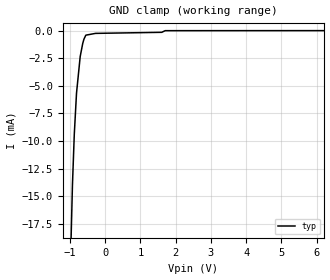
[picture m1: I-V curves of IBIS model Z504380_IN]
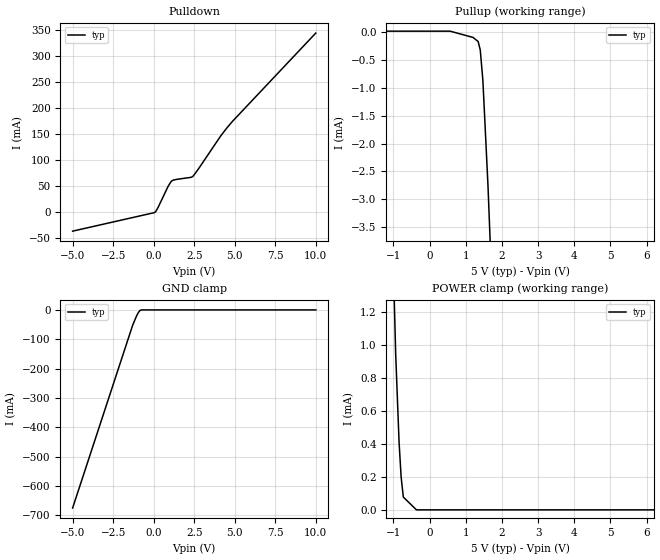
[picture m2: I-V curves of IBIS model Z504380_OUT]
| YOU ARE ONLY AUTHORIZED TO USE THIS SOFTWARE
| ACCORDING TO LICENSOR'S LICENSE RESTRICTIONS.
[IBIS Ver] 3.1
[File Name] sn54ls13j.ibs
[File Rev] 2.0
[Source] Measured and created by ICX Technology
[Date] Friday 7/14/00 9:08:13 AM
[Copyright]
| (C) COPYRIGHT 1993-2000
| MENTOR GRAPHICS CORPORATION
| ICX STANDARD LIBRARY, ICX PROJECT MODELING,
| ICX CUSTOM MODELING, ICX VENDOR MODEL
| ALL RIGHTS RESERVED.
| THE FOLLOWING ARE TRADEMARKS OR SERVICE MARKS OF
| MENTOR GRAPHICS CORPORATION:ICX (R), ICX STANDARD
| LIBRARY(R), ICX PROJECT MODELING(R), ICX CUSTOM
| MODELING(R), qualityIBIS(TM), MODELVIEWER(TM),
| AND MODELEDITOR(TM)
| ALL COPIES OF SOFTWARE, INCLUDING BUT NOT LIMITED TO
| ANY MODIFICATIONS, ENHANCEMENTS OR DERIVATIVE WORKS,
| MUST CONTAIN ALL MENTOR GRAPHICS CORPORATION'S
| NOTICES AND LEGENDS, INCLUDING THOSE EMBEDDED IN
| SOFTWARE AND THOSE AFFIXED TO SOFTWARE MEDIUM
| AND CONTAINER, AS RECEIVED FROM MENTOR GRAPHICS
| CORPORATION.
|  ZAP Model Builder 2.7
[Component] SN54LS13J
[Manufacturer] OnSemiconductor
[Package]
| variable   typ   min   max
R_pkg  .21ohms NA NA
L_pkg  4.543nH NA NA
C_pkg  1.8pF NA NA
[Pin] signal_name  model_name  R_pin  L_pin C_pin
1 A Z504380_IN .22 6.757n 2.434p
2 B Z504380_IN .212 4.757n 1.941p
3 NC NC .204 3.257n 1.448p
4 C Z504380_IN .196 2.257n .955p
5 D Z504380_IN .204 3.257n 1.448p
6 Y Z504380_OUT .212 4.757n 1.941p
7 GND GND .22 6.757n 2.434p
8 Y Z504380_OUT .22 6.757n 2.434p
9 A Z504380_IN .212 4.757n 1.941p
10 B Z504380_IN .204 3.257n 1.448p
11 NC NC .196 2.257n .955p
12 C Z504380_IN .204 3.257n 1.448p
13 D Z504380_IN .212 4.757n 1.941p
14 VCC POWER .22 6.757n 2.434p
| Models and submodels in the file (2): Z504380_IN (Input), Z504380_OUT (Output)
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| (C) COPYRIGHT 1993-2000
| MENTOR GRAPHICS CORPORATION
| ICX STANDARD LIBRARY, ICX PROJECT MODELING,
| ICX CUSTOM MODELING, ICX VENDOR MODEL
| ALL RIGHTS RESERVED.
| THE FOLLOWING ARE TRADEMARKS OR SERVICE MARKS OF
| MENTOR GRAPHICS CORPORATION:ICX (R), ICX STANDARD
| LIBRARY(R), ICX PROJECT MODELING(R), ICX CUSTOM
| MODELING(R), qualityIBIS(TM), MODELVIEWER(TM),
| AND MODELEDITOR(TM)
| ALL COPIES OF SOFTWARE, INCLUDING BUT NOT LIMITED TO
| ANY MODIFICATIONS, ENHANCEMENTS OR DERIVATIVE WORKS,
| MUST CONTAIN ALL MENTOR GRAPHICS CORPORATION'S
| NOTICES AND LEGENDS, INCLUDING THOSE EMBEDDED IN
| SOFTWARE AND THOSE AFFIXED TO SOFTWARE MEDIUM
| AND CONTAINER, AS RECEIVED FROM MENTOR GRAPHICS
| CORPORATION.
| Model Application Version 1.89 2/18/99.
[Model] Z504380_IN
Model_type Input
Vinl = 800.0mV
Vinh = 2.000V
C_comp 4.000pF NA NA
| variable typ   min   max
[Voltage Range] 5.000V NA NA
[GND Clamp Reference] 0.000V NA NA
[POWER Clamp Reference] 5.000V NA NA
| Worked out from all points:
|   GND clamp passes 1 mA (typ) near -0.62 V on its own axis
[GND Clamp]
-5V       -523.8mA   NA         NA
-925.1mV  -13.93mA   NA         NA
-873.8mV  -9.414mA   NA         NA
-810.4mV  -5.664mA   NA         NA
-706mV    -2.348mA   NA         NA
-634.8mV  -1.171mA   NA         NA
-600.5mV  -780.6uA   NA         NA
-546.6mV  -414.2uA   NA         NA
-273.3mV  -252.1uA   NA         NA
1.607V    -155.1uA   NA         NA
1.704V    -6.037uA   NA         NA
10V       2.342uA    NA         NA
[POWER Clamp]
-5V       0A         NA         NA
10V       0A         NA         NA
| (C) COPYRIGHT 1993-2000
| MENTOR GRAPHICS CORPORATION
| ICX STANDARD LIBRARY, ICX PROJECT MODELING,
| ICX CUSTOM MODELING, ICX VENDOR MODEL
| ALL RIGHTS RESERVED.
| THE FOLLOWING ARE TRADEMARKS OR SERVICE MARKS OF
| MENTOR GRAPHICS CORPORATION:ICX (R), ICX STANDARD
| LIBRARY(R), ICX PROJECT MODELING(R), ICX CUSTOM
| MODELING(R), qualityIBIS(TM), MODELVIEWER(TM),
| AND MODELEDITOR(TM)
| ALL COPIES OF SOFTWARE, INCLUDING BUT NOT LIMITED TO
| ANY MODIFICATIONS, ENHANCEMENTS OR DERIVATIVE WORKS,
| MUST CONTAIN ALL MENTOR GRAPHICS CORPORATION'S
| NOTICES AND LEGENDS, INCLUDING THOSE EMBEDDED IN
| SOFTWARE AND THOSE AFFIXED TO SOFTWARE MEDIUM
| AND CONTAINER, AS RECEIVED FROM MENTOR GRAPHICS
| CORPORATION.
| Model Application Version 1.89 2/18/99.
[Model] Z504380_OUT
Model_type Output
Vref=5.000V
Rref=2.000kohms
Cref=15.00pF
Vmeas=1.300V
C_comp 8.000pF NA NA
| variable typ   min   max
[Voltage Range] 5.000V NA NA
[POWER Clamp Reference] 5.000V NA NA
[Pullup Reference] 5.000V NA NA
[Pulldown Reference] 0.000V NA NA
[GND Clamp Reference] 0.000V NA NA
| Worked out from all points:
|   slope of the pulldown table from 0 to 0.75 V, typ, clamps not added: 18 ohm
|   slope of the pullup table from 0 to 0.75 V, typ, clamps not added: 23.1 kohm
|   GND clamp passes 1 mA (typ) near -0.81 V on its own axis
[GND Clamp]
-5V       -675.6mA   NA         NA
-1.299V   -52.71mA   NA         NA
-1.055V   -20.4mA    NA         NA
-931.8mV  -7.942mA   NA         NA
-837.9mV  -1.518mA   NA         NA
-744.8mV  0A         NA         NA
10V       0A         NA         NA
[Pulldown]
-5V       -36.7mA    NA         NA
68.55mV   -735.7uA   NA         NA
131.3mV   1.09mA     NA         NA
278.3mV   9.254mA    NA         NA
889.4mV   49.23mA    NA         NA
1.062V    57.87mA    NA         NA
1.276V    61.75mA    NA         NA
2.309V    66.6mA     NA         NA
2.446V    69.36mA    NA         NA
4.136V    146.1mA    NA         NA
4.863V    174.1mA    NA         NA
10V       343.5mA    NA         NA
[Pullup]
-5V       16.15uA    NA         NA
566mV     16.15uA    NA         NA
1.202V    -96.24uA   NA         NA
1.343V    -170uA     NA         NA
1.401V    -320.9uA   NA         NA
1.474V    -871.4uA   NA         NA
1.616V    -2.772mA   NA         NA
10V       -142.5mA   NA         NA
[POWER Clamp]
-5V       34.48mA    NA         NA
-938mV    940.8uA    NA         NA
-845mV    411.3uA    NA         NA
-788mV    199.8uA    NA         NA
-727mV    77.35uA    NA         NA
-363.5mV  0A         NA         NA
10V       0A         NA         NA
[Ramp]
| variable typ min max
dV/dt_r 1.849/7.528n NA NA
dV/dt_f 1.849/1.464n NA NA
R_load = 500.0Ohms
